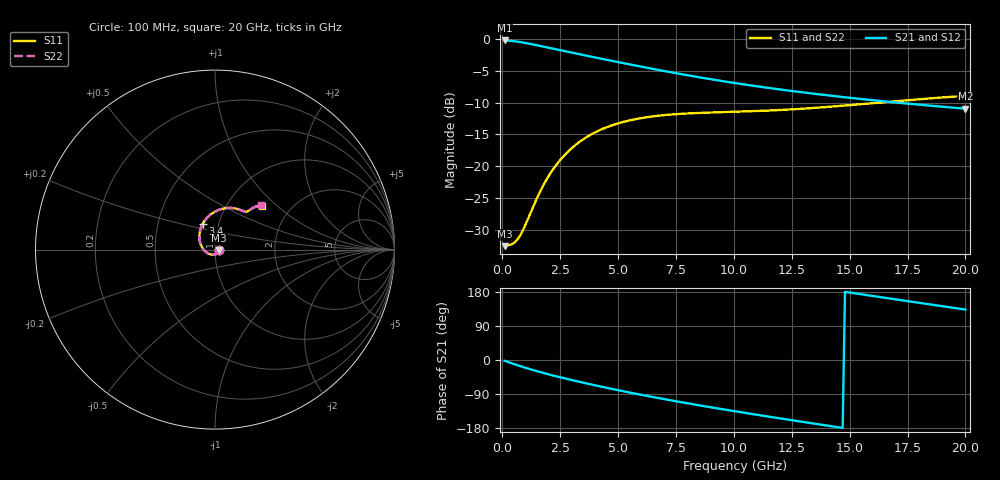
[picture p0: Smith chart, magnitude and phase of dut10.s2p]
! Touchstone file exported from HFSS 2024.1.0
!  File:  C:/UserFiles/LocalFiles/RDL_TSV_Batchsim/temp_RDL_TSV_10_1779397238.aedt
!  Generated:  05:15:29 AM May 22, 2026
!  Design:  RDL_TSV
!  Project:  temp_RDL_TSV_10_1779397238
!  Setup:  Setup1
!  Solution:  Sweep
! Variables:
!  dtsv = 14.38um
!  hbump = 3um
!  htsv = 98.25um
!  ldown = 299.06um
!  lrdl = 452.23um
!  p = 40
!  p1 = 46.89um
!  rhole = 10um
!  subl = 2706.1um
!  t = 450um
!  tdown = 3.38um
!  trdl = 2.06um
!  viad = 10um
!  wdown = 17.73um
!  wrdl = 17.19um
!  xbump = 18um
# GHz S MA R 50.000000
! Terminal data exported
! Port[1] = TM1_1_T1
! Port[2] = TM1_4_T1
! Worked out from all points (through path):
!   200 points, 100 MHz to 20 GHz, reference 50 ohm
!   highest |S21| = -0.21 dB at 100 MHz (marker M1); lowest = -11.0 dB at 20 GHz (marker M2)
!   group delay of S21, straight-line fit = 29.6 ps
!   lowest |S11| = -32.6 dB at 100 MHz (marker M3), VSWR 1.05, Z = 52.3 - j0.49 ohm
!   |S11| at or under -10 dB: start of sweep to 16.27 GHz
!   |S22| runs from -32.6 to -8.9 dB; largest |S21 - S12| = 9.4e-15
!   S11 on the Smith chart (normalised r, x): 100 MHz: 1.05, -0.01; 3.4 GHz: 0.84, +0.24; 20 GHz: 1.43, +0.81
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0.1  0.02337 -11.5  0.976 -2.2  0.976 -2.2  0.02337 -11.5
! Gamma 0 0 0 0
! Port Impedance 50 0 50 0
0.5  0.02479 -62.6  0.9631 -10.6  0.9631 -10.6  0.02478 -62.6
0.7  0.02709 -89.9  0.9523 -14.7  0.9523 -14.7  0.02708 -89.9
0.9  0.03146 -115.6  0.9395 -18.6  0.9395 -18.6  0.03144 -115.6
1.6  0.06124 -177.3  0.8863 -31.3  0.8863 -31.3  0.06125 -177.4
2  0.08332 161.2  0.8548 -37.9  0.8548 -37.9  0.08335 161.2
2.4  0.106 144.9  0.8244 -44.1  0.8244 -44.1  0.106 144.9
2.9  0.1332 128.8  0.7886 -51.5  0.7886 -51.5  0.1333 128.8
3.4  0.1581 115.9  0.7551 -58.6  0.7551 -58.6  0.1582 115.9
3.5  0.1627 113.6  0.7486 -60.0  0.7486 -60.0  0.1628 113.6
4.2  0.1915 99.7  0.7052 -69.4  0.7052 -69.4  0.1916 99.7
5  0.2169 87.3  0.6592 -79.7  0.6592 -79.7  0.217 87.3
5.9  0.2369 76.4  0.6118 -90.7  0.6118 -90.7  0.2371 76.4
6.8  0.2498 68.2  0.5691 -101.1  0.5691 -101.1  0.25 68.2
8.4  0.2616 58.3  0.5042 -118.5  0.5042 -118.5  0.2617 58.3
10.1  0.2678 52.7  0.4491 -135.8  0.4491 -135.8  0.2679 52.7
11.7  0.2747 50.2  0.4078 -151.3  0.4078 -151.3  0.2748 50.3
13.4  0.2865 49.1  0.3724 -167.3  0.3724 -167.3  0.2866 49.2
15  0.3019 48.3  0.345 178.0  0.345 178.0  0.3021 48.4
16.7  0.3212 47.1  0.3206 162.6  0.3206 162.6  0.3214 47.2
18.4  0.3406 45.4  0.2998 147.3  0.2998 147.3  0.341 45.5
20  0.3571 43.5  0.2831 133.1  0.2831 133.1  0.3576 43.6
